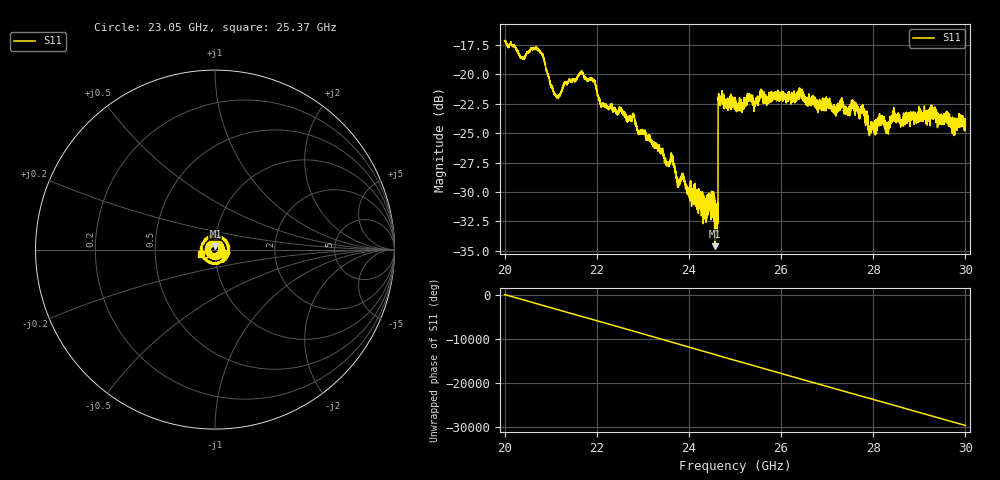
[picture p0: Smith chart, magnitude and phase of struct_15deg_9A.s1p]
#  HZ  S  RI  R  50.00
! Rohde & Schwarz ZVA40 4Ports - Version 3.90 - 1145.1110k42 SN: 100403
! Date: 2023-09-28 09:23:46
! Measurement: S12
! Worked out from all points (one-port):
!   5001 points, 20 GHz to 30 GHz, reference 50 ohm
!   lowest |S11| = -34.6 dB at 24.57 GHz (marker M1), VSWR 1.04, Z = 50.2 + j1.85 ohm
!   |S11| at or under -10 dB: start of sweep to end of sweep
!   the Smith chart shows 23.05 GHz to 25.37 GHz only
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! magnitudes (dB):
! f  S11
! 20 GHz  -17.2
! 20.38 GHz  -18.7
! 20.72 GHz  -18.0
! 21.1 GHz  -21.8
! 21.25 GHz  -21.3
! 21.67 GHz  -19.7
! 21.92 GHz  -20.6
! 22.12 GHz  -22.7
! 22.5 GHz  -23.0
! 22.79 GHz  -23.3
! 23.52 GHz  -27.6
! 23.64 GHz  -27.2
! 23.75 GHz  -29.1
! 23.87 GHz  -28.5
! 24.35 GHz  -31.7
! 24.49 GHz  -31.7
! 24.57 GHz  -34.6
! 24.58 GHz  -32.5
! 24.68 GHz  -22.2
! 25 GHz  -22.4
! 25.57 GHz  -21.7
! 26.25 GHz  -22.1
! 27.5 GHz  -22.6
! 27.77 GHz  -22.6
! 27.94 GHz  -25.0
! 28.75 GHz  -23.5
! 29.29 GHz  -23.7
! 30 GHz  -24.3
